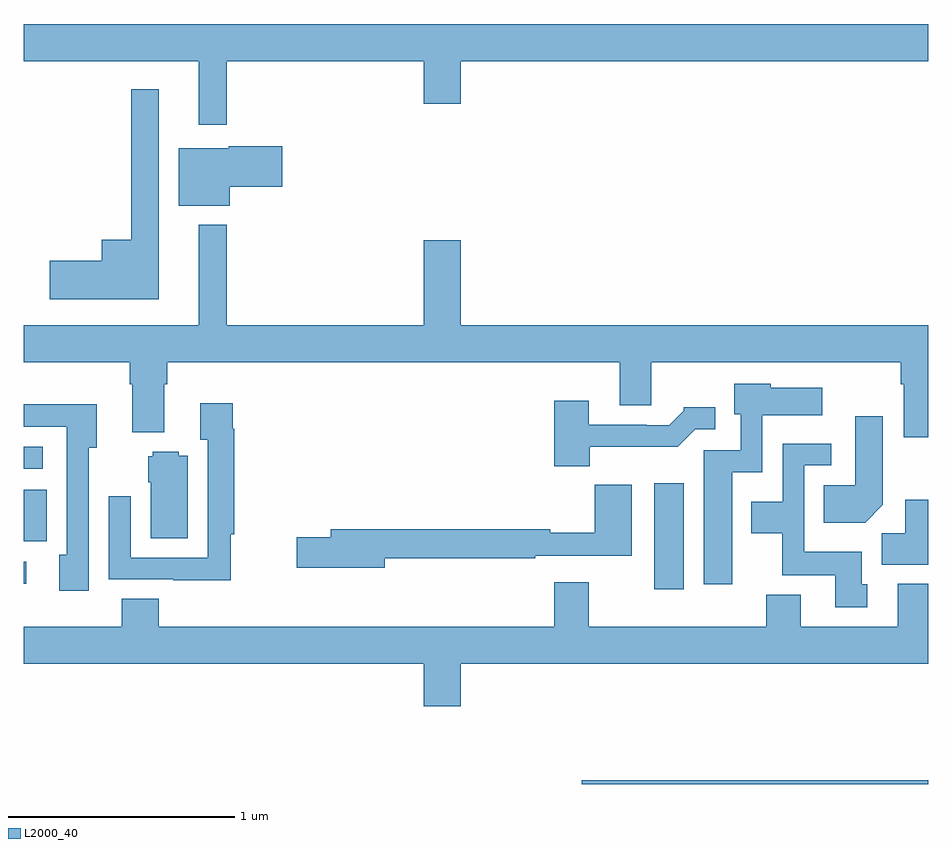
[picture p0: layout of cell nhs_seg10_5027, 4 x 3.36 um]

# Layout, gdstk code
import gdstk
lib = gdstk.Library(unit=1e-6, precision=1e-09)
def R(c, l, rs):  # rectangles x0, y0, x1, y1
    for r in rs: c.add(gdstk.rectangle(r[:2], r[2:], *l))
def P(c, l, *ps):  # polygons
    for p in ps: c.add(gdstk.Polygon(p, *l))
L2000_40 = (2000, 40)

nhs_seg10_5027 = lib.new_cell('nhs_seg10_5027')
R(nhs_seg10_5027, L2000_40, [(405.467,1250.5,407,1250.516), (405.788,1251.36,405.919,1251.829), (403,1251.386,403.012,1251.483), (403,1251.573,403.102,1251.801), (403,1251.894,403.084,1251.99)])
P(nhs_seg10_5027, L2000_40, [(403.897,1253.696),(404.768,1253.696),(404.768,1253.508),(404.932,1253.508),(404.932,1253.696),(407,1253.696),(407,1253.86),(403,1253.86),(403,1253.696),(403.775,1253.696),(403.775,1253.415),(403.897,1253.415)],
  [(403.597,1253.572),(403.476,1253.572),(403.476,1252.906),(403.346,1252.906),(403.346,1252.814),(403.116,1252.814),(403.116,1252.643),(403.597,1252.643)],
  [(403.912,1253.141),(404.143,1253.141),(404.143,1253.319),(403.908,1253.319),(403.908,1253.311),(403.685,1253.311),(403.685,1253.057),(403.912,1253.057)],
  [(407,1252.528),(404.932,1252.528),(404.932,1252.903),(404.768,1252.903),(404.768,1252.528),(403.897,1252.528),(403.897,1252.972),(403.775,1252.972),(403.775,1252.528),(403,1252.528),(403,1252.364),(403.469,1252.364),(403.469,1252.268),(403.481,1252.268),(403.481,1252.055),(403.621,1252.055),(403.621,1252.268),(403.634,1252.268),(403.634,1252.364),(405.635,1252.364),(405.635,1252.174),(405.775,1252.174),(405.775,1252.364),(406.878,1252.364),(406.878,1252.268),(406.89,1252.268),(406.89,1252.032),(407,1252.032)],
  [(406.132,1251.878),(406.266,1251.878),(406.266,1252.13),(406.531,1252.13),(406.531,1252.252),(406.302,1252.252),(406.302,1252.27),(406.142,1252.27),(406.142,1252.134),(406.17,1252.134),(406.17,1251.975),(406.007,1251.975),(406.007,1251.384),(406.132,1251.384)],
  [(405.502,1251.99),(405.891,1251.99),(405.969,1252.068),(406.057,1252.068),(406.057,1252.165),(405.918,1252.165),(405.918,1252.15),(405.854,1252.086),(405.755,1252.086),(405.755,1252.089),(405.499,1252.089),(405.499,1252.195),(405.347,1252.195),(405.347,1251.905),(405.502,1251.905)],
  [(403.916,1251.605),(403.931,1251.605),(403.931,1252.07),(403.924,1252.07),(403.924,1252.183),(403.781,1252.183),(403.781,1252.022),(403.815,1252.022),(403.815,1251.501),(403.473,1251.501),(403.473,1251.772),(403.377,1251.772),(403.377,1251.405),(403.661,1251.405),(403.661,1251.401),(403.916,1251.401)],
  [(403.287,1251.986),(403.324,1251.986),(403.324,1252.178),(403,1252.178),(403,1252.08),(403.191,1252.08),(403.191,1251.514),(403.157,1251.514),(403.157,1251.354),(403.287,1251.354)],
  [(406.798,1251.734),(406.798,1252.126),(406.676,1252.126),(406.676,1251.82),(406.537,1251.82),(406.537,1251.656),(406.72,1251.656)],
  [(406.729,1251.384),(406.705,1251.384),(406.705,1251.526),(406.452,1251.526),(406.452,1251.909),(406.57,1251.909),(406.57,1252.005),(406.356,1252.005),(406.356,1251.748),(406.217,1251.748),(406.217,1251.608),(406.354,1251.608),(406.354,1251.422),(406.589,1251.422),(406.589,1251.282),(406.729,1251.282)],
  [(403.726,1251.952),(403.686,1251.952),(403.686,1251.97),(403.572,1251.97),(403.572,1251.948),(403.55,1251.948),(403.55,1251.834),(403.562,1251.834),(403.562,1251.586),(403.726,1251.586)],
  [(404.596,1251.498),(405.263,1251.498),(405.263,1251.51),(405.688,1251.51),(405.688,1251.823),(405.526,1251.823),(405.526,1251.611),(405.328,1251.611),(405.328,1251.626),(404.357,1251.626),(404.357,1251.59),(404.208,1251.59),(404.208,1251.455),(404.596,1251.455)],
  [(407,1251.757),(406.898,1251.757),(406.898,1251.608),(406.793,1251.608),(406.793,1251.47),(407,1251.47)],
  [(404.932,1251.032),(407,1251.032),(407,1251.385),(406.865,1251.385),(406.865,1251.196),(406.435,1251.196),(406.435,1251.337),(406.283,1251.337),(406.283,1251.196),(405.499,1251.196),(405.499,1251.391),(405.347,1251.391),(405.347,1251.196),(403.598,1251.196),(403.598,1251.32),(403.433,1251.32),(403.433,1251.196),(403,1251.196),(403,1251.032),(404.768,1251.032),(404.768,1250.844),(404.932,1250.844)])

lib.write_gds('nhs_seg10_5027.gds')
